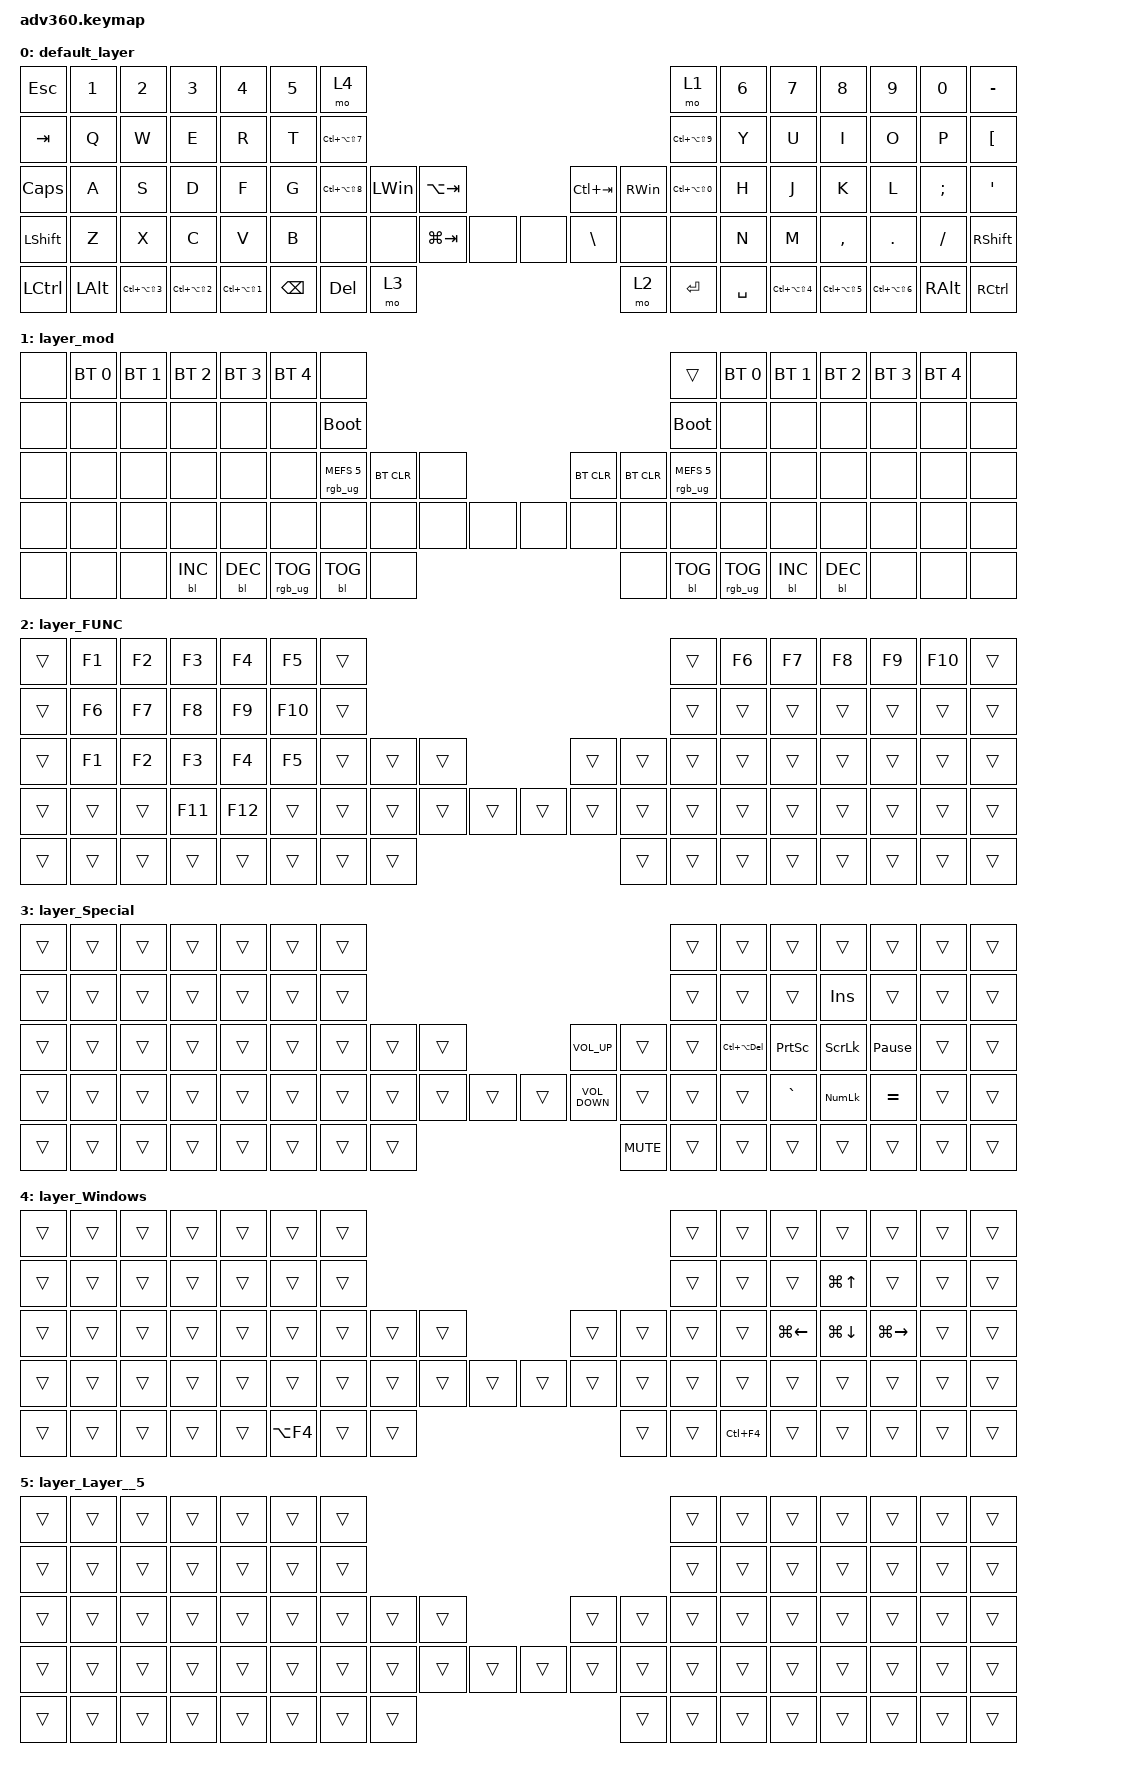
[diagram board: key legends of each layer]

/*
 * Copyright (c) 2020 The ZMK Contributors
 *
 * SPDX-License-Identifier: MIT
 */


/* THIS FILE WAS GENERATED!
 *
 * This file was generated automatically. You may or may not want to
 * edit it directly.
 */

#include <behaviors.dtsi>
#include <dt-bindings/zmk/keys.h>
#include <dt-bindings/zmk/bt.h>
#include <dt-bindings/zmk/rgb.h>
#include <dt-bindings/zmk/backlight.h>

/ {
  behaviors {
    #include "macros.dtsi"

    hm: homerow_mods {
        compatible = "zmk,behavior-hold-tap";
        label = "HOMEROW_MODS";
        #binding-cells = <2>;
        tapping-term-ms = <200>;
        quick_tap_ms = <175>;
        flavor = "tap-preferred";
        bindings = <&kp>, <&kp>;
    };
  };

    keymap {
        compatible = "zmk,keymap";


        default_layer {
            bindings = <
       &kp ESCAPE        &kp N1              &kp N2              &kp N3              &kp N4  &kp N5                         &mo 4                                                                                        &mo 1  &kp N6              &kp N7              &kp N8              &kp N9         &kp N0         &kp MINUS
          &kp TAB         &kp Q               &kp W               &kp E               &kp R   &kp T            &kp LC(LA(LS(N7)))                                                                           &kp LC(LA(LS(N9)))   &kp Y               &kp U               &kp I               &kp O          &kp P  &kp LEFT_BRACKET
     &kp CAPSLOCK         &kp A               &kp S               &kp D               &kp F   &kp G            &kp LC(LA(LS(N8)))  &kp LEFT_WIN  &kp LA(TAB)                    &kp LC(TAB)  &kp RIGHT_WIN  &kp LC(LA(LS(N0)))   &kp H               &kp J               &kp K               &kp L       &kp SEMI           &kp SQT
   &kp LEFT_SHIFT         &kp Z               &kp X               &kp C               &kp V   &kp B                         &none         &none  &kp LG(TAB)   &none   &none  &kp BACKSLASH          &none               &none   &kp N               &kp M           &kp COMMA             &kp DOT       &kp FSLH   &kp RIGHT_SHIFT
 &kp LEFT_CONTROL  &kp LEFT_ALT  &kp LC(LA(LS(N3)))  &kp LC(LA(LS(N2)))  &kp LC(LA(LS(N1)))                         &kp BACKSPACE       &kp DEL        &mo 3                          &mo 2      &kp ENTER           &kp SPACE          &kp LC(LA(LS(N4)))  &kp LC(LA(LS(N5)))  &kp LC(LA(LS(N6)))  &kp RIGHT_ALT         &kp RCTRL
            >;
        };

        layer_mod {
            bindings = <
  &none  &bt BT_SEL 0  &bt BT_SEL 1  &bt BT_SEL 2  &bt BT_SEL 3  &bt BT_SEL 4                             &none                                                                              &trans  &bt BT_SEL 0  &bt BT_SEL 1  &bt BT_SEL 2  &bt BT_SEL 3  &bt BT_SEL 4   &none
  &none         &none         &none         &none         &none         &none                       &bootloader                                                                         &bootloader         &none         &none         &none         &none         &none   &none
  &none         &none         &none         &none         &none         &none            &rgb_ug RGB_MEFS_CMD 5  &bt BT_CLR   &none                  &bt BT_CLR  &bt BT_CLR  &rgb_ug RGB_MEFS_CMD 5         &none         &none         &none         &none         &none   &none
  &none         &none         &none         &none         &none         &none                             &none       &none   &none   &none   &none       &none       &none                   &none         &none         &none         &none         &none         &none   &none
  &none         &none         &none    &bl BL_INC    &bl BL_DEC                                 &rgb_ug RGB_TOG  &bl BL_TOG   &none                       &none  &bl BL_TOG         &rgb_ug RGB_TOG                  &bl BL_INC    &bl BL_DEC         &none         &none   &none
            >;
        };

        layer_FUNC {
            bindings = <
 &trans  &kp F1  &kp F2   &kp F3   &kp F4   &kp F5            &trans                                                  &trans  &kp F6  &kp F7  &kp F8  &kp F9  &kp F10  &trans
 &trans  &kp F6  &kp F7   &kp F8   &kp F9  &kp F10            &trans                                                  &trans  &trans  &trans  &trans  &trans   &trans  &trans
 &trans  &kp F1  &kp F2   &kp F3   &kp F4   &kp F5            &trans  &trans  &trans                  &trans  &trans  &trans  &trans  &trans  &trans  &trans   &trans  &trans
 &trans  &trans  &trans  &kp F11  &kp F12   &trans            &trans  &trans  &trans  &trans  &trans  &trans  &trans  &trans  &trans  &trans  &trans  &trans   &trans  &trans
 &trans  &trans  &trans   &trans   &trans                     &trans  &trans  &trans                  &trans  &trans  &trans          &trans  &trans  &trans   &trans  &trans
            >;
        };

        layer_Special {
            bindings = <
 &trans  &trans  &trans  &trans  &trans  &trans            &trans                                                             &trans           &trans     &trans          &trans           &trans  &trans  &trans
 &trans  &trans  &trans  &trans  &trans  &trans            &trans                                                             &trans           &trans     &trans      &kp INSERT           &trans  &trans  &trans
 &trans  &trans  &trans  &trans  &trans  &trans            &trans  &trans  &trans                    &kp C_VOLUME_UP  &trans  &trans  &kp LC(LA(DEL))  &kp PSCRN        &kp SLCK  &kp PAUSE_BREAK  &trans  &trans
 &trans  &trans  &trans  &trans  &trans  &trans            &trans  &trans  &trans  &trans  &trans  &kp C_VOLUME_DOWN  &trans  &trans           &trans  &kp GRAVE  &kp KP_NUMLOCK        &kp EQUAL  &trans  &trans
 &trans  &trans  &trans  &trans  &trans                    &trans  &trans  &trans                         &kp C_MUTE  &trans  &trans                      &trans          &trans           &trans  &trans  &trans
            >;
        };

        layer_Windows {
            bindings = <
 &trans  &trans  &trans  &trans  &trans  &trans                &trans                                                      &trans  &trans        &trans        &trans         &trans  &trans  &trans
 &trans  &trans  &trans  &trans  &trans  &trans                &trans                                                      &trans  &trans        &trans    &kp LG(UP)         &trans  &trans  &trans
 &trans  &trans  &trans  &trans  &trans  &trans                &trans  &trans  &trans                  &trans  &trans      &trans  &trans  &kp LG(LEFT)  &kp LG(DOWN)  &kp LG(RIGHT)  &trans  &trans
 &trans  &trans  &trans  &trans  &trans  &trans                &trans  &trans  &trans  &trans  &trans  &trans  &trans      &trans  &trans        &trans        &trans         &trans  &trans  &trans
 &trans  &trans  &trans  &trans  &trans                    &kp LA(F4)  &trans  &trans                  &trans  &trans  &kp LC(F4)                &trans        &trans         &trans  &trans  &trans
            >;
        };

        layer_Layer__5 {
            bindings = <
 &trans  &trans  &trans  &trans  &trans  &trans            &trans                                                  &trans  &trans  &trans  &trans  &trans  &trans  &trans
 &trans  &trans  &trans  &trans  &trans  &trans            &trans                                                  &trans  &trans  &trans  &trans  &trans  &trans  &trans
 &trans  &trans  &trans  &trans  &trans  &trans            &trans  &trans  &trans                  &trans  &trans  &trans  &trans  &trans  &trans  &trans  &trans  &trans
 &trans  &trans  &trans  &trans  &trans  &trans            &trans  &trans  &trans  &trans  &trans  &trans  &trans  &trans  &trans  &trans  &trans  &trans  &trans  &trans
 &trans  &trans  &trans  &trans  &trans                    &trans  &trans  &trans                  &trans  &trans  &trans          &trans  &trans  &trans  &trans  &trans
            >;
        };

    };
};
